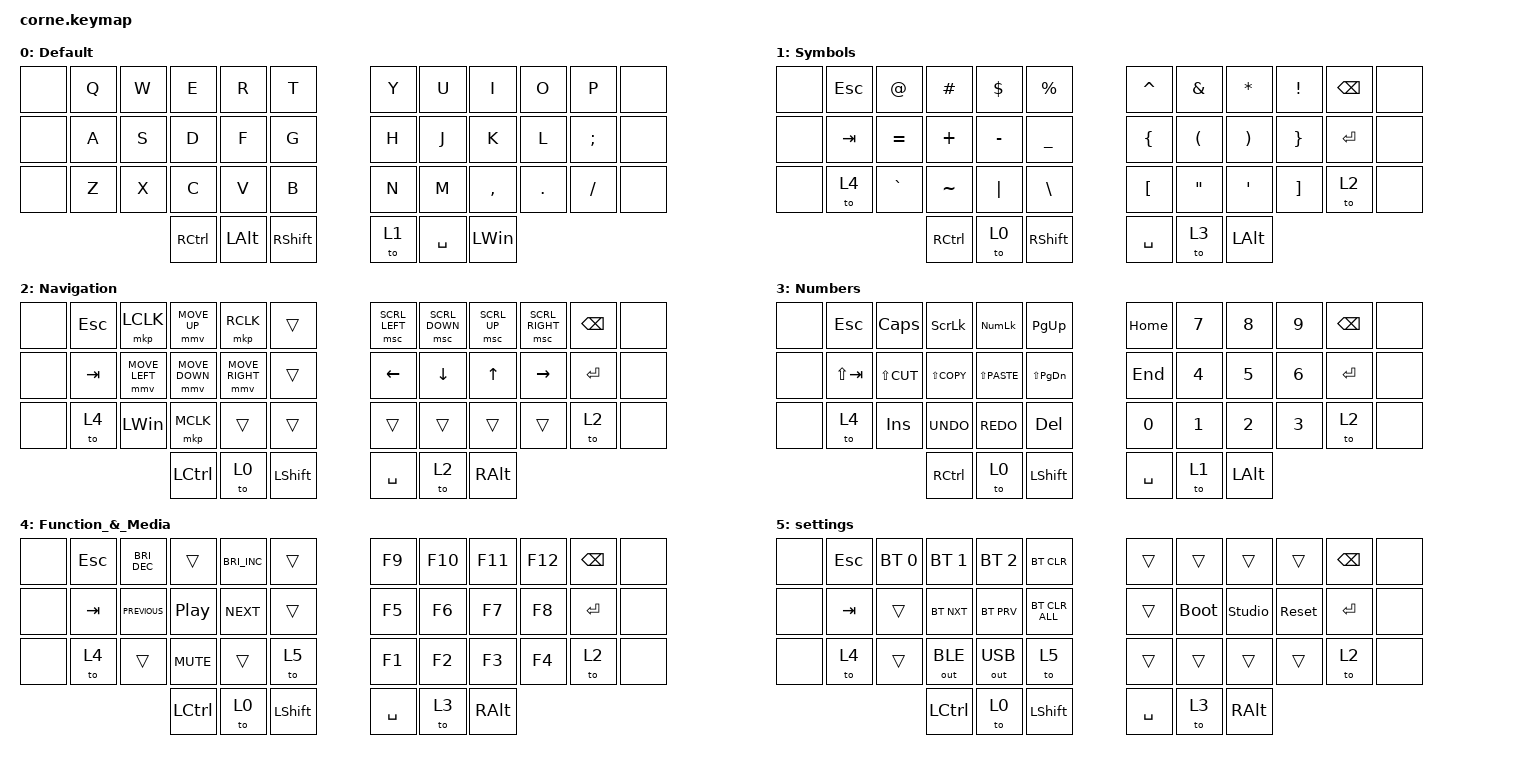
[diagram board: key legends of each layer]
/*
 * Copyright (c) 2020 The ZMK Contributors
 *
 * SPDX-License-Identifier: MIT
 */

#include <behaviors.dtsi>
#include <dt-bindings/zmk/bt.h>
#include <dt-bindings/zmk/keys.h>
#include <dt-bindings/zmk/outputs.h>
#include <dt-bindings/zmk/pointing.h>

#define DEFAULT 0
#define SYM     1
#define NAV     2
#define NUM     3
#define FUNC    4
#define SETTINGS 5

&caps_word { continue-list = <UNDERSCORE MINUS>; };

&soft_off {
    hold-time-ms = <5000>; // Only turn off if the key is held for 5 seconds or longer.
};

&soft_off { /delete-property/ split-peripheral-off-on-press; };

/ {
    combos {
        compatible = "zmk,combos";

        combo_enter {
            bindings = <&kp ENTER>;
            key-positions = <19 20>;
            layers = <0>;
            timeout-ms = <50>;
        };

        combo_tab {
            bindings = <&kp TAB>;
            key-positions = <1 2>;
            require-prior-idle-ms = <50>;
            layers = <0>;
        };

        combo_ctrl_backspace {
            bindings = <&kp RC(BACKSPACE)>;
            key-positions = <27 28>;
            timeout-ms = <50>;
            layers = <0>;
        };

        combo_quote {
            bindings = <&kp SINGLE_QUOTE>;
            key-positions = <32 33>;
            timeout-ms = <50>;
            layers = <0>;
        };

        combo_ctrl_shift {
            bindings = <&kp LC(LEFT_SHIFT)>;
            key-positions = <25 26>;
            timeout-ms = <50>;
            layers = <0>;
        };

        combo_backspace {
            bindings = <&kp BACKSPACE>;
            key-positions = <15 16>;
            timeout-ms = <50>;
            layers = <0>;
        };

        combo_alt_shift {
            bindings = <&kp LA(LEFT_SHIFT)>;
            key-positions = <15 16>;
            timeout-ms = <50>;
            layers = <3>;
        };
    };
};

/ {
    behaviors {
        hm: homerow_mods {
            compatible = "zmk,behavior-hold-tap";
            label = "HOMEROW_MODS";
            #binding-cells = <2>;
            tapping-term-ms = <200>;
            quick-tap-ms = <0>;
            flavor = "balanced";
            bindings = <&kp>, <&kp>;
        };

        hs: homerow_shift {
            compatible = "zmk,behavior-hold-tap";
            label = "HOMEROW_SHIFT";
            #binding-cells = <2>;
            tapping-term-ms = <175>;
            quick-tap-ms = <0>;
            flavor = "balanced";
            bindings = <&kp>, <&kp>;
        };

        pht: positional_hold_tap {
            compatible = "zmk,behavior-hold-tap";
            label = "POSITIONAL_HOLD_TAP";
            #binding-cells = <2>;
            flavor = "hold-preferred";
            tapping-term-ms = <400>;
            quick-tap-ms = <200>;
            bindings = <&kp>, <&kp>;

            hold-trigger-key-positions = <2>;    // <---[[the W key]]
        };
    };

    keymap {
        compatible = "zmk,keymap";

        default_layer {
            label = "Default";
            bindings = <
&none  &kp Q  &kp W  &kp E      &kp R         &kp T              &kp Y  &kp U      &kp I         &kp O    &kp P          &none
&none  &kp A  &kp S  &kp D      &kp F         &kp G              &kp H  &kp J      &kp K         &kp L    &kp SEMICOLON  &none
&none  &kp Z  &kp X  &kp C      &kp V         &kp B              &kp N  &kp M      &kp COMMA     &kp DOT  &kp FSLH       &none
                     &kp RCTRL  &kp LEFT_ALT  &kp RIGHT_SHIFT    &to 1  &kp SPACE  &kp LEFT_WIN
            >;
        };

        symbol_layer {
            label = "Symbols";
            bindings = <
&none  &kp ESC  &kp AT_SIGN  &kp HASH   &kp DOLLAR  &kp PERCENT        &kp CARET         &kp AMPERSAND         &kp ASTERISK           &kp EXCLAMATION    &kp BACKSPACE  &none
&none  &kp TAB  &kp EQUAL    &kp PLUS   &kp MINUS   &kp UNDERSCORE     &kp LEFT_BRACE    &kp LEFT_PARENTHESIS  &kp RIGHT_PARENTHESIS  &kp RIGHT_BRACE    &kp ENTER      &none
&none  &to 4    &kp GRAVE    &kp TILDE  &kp PIPE    &kp BACKSLASH      &kp LEFT_BRACKET  &kp DOUBLE_QUOTES     &kp SINGLE_QUOTE       &kp RIGHT_BRACKET  &to 2          &none
                             &kp RCTRL  &to 0       &kp RIGHT_SHIFT    &kp SPACE         &to 3                 &kp LEFT_ALT
            >;
        };

        nav_layer {
            label = "Navigation";
            bindings = <
&none  &kp ESCAPE  &mkp LCLK       &mmv MOVE_UP    &mkp RCLK        &trans            &msc SCRL_LEFT  &msc SCRL_DOWN  &msc SCRL_UP   &msc SCRL_RIGHT  &kp BACKSPACE  &none
&none  &kp TAB     &mmv MOVE_LEFT  &mmv MOVE_DOWN  &mmv MOVE_RIGHT  &trans            &kp LEFT        &kp DOWN        &kp UP_ARROW   &kp RIGHT        &kp ENTER      &none
&none  &to 4       &kp LEFT_WIN    &mkp MCLK       &trans           &trans            &trans          &trans          &trans         &trans           &to 2          &none
                                   &kp LCTRL       &to 0            &kp LEFT_SHIFT    &kp SPACE       &to 2           &kp RIGHT_ALT
            >;
        };

        num_layer {
            label = "Numbers";
            bindings = <
&none  &kp ESCAPE   &kp CAPS       &kp SCROLLLOCK  &kp KP_NUMLOCK   &kp PG_UP         &kp HOME      &kp NUMBER_7  &kp NUMBER_8  &kp NUMBER_9  &kp BACKSPACE  &none
&none  &kp LS(TAB)  &kp LS(K_CUT)  &kp LS(K_COPY)  &kp LS(K_PASTE)  &kp LS(PG_DN)     &kp END       &kp NUMBER_4  &kp NUMBER_5  &kp NUMBER_6  &kp ENTER      &none
&none  &to 4        &kp INSERT     &kp K_UNDO      &kp K_REDO       &kp DELETE        &kp NUMBER_0  &kp NUMBER_1  &kp NUMBER_2  &kp NUMBER_3  &to 2          &none
                                   &kp RCTRL       &to 0            &kp LEFT_SHIFT    &kp SPACE     &to 1         &kp LEFT_ALT
            >;
        };

        function_layer {
            label = "Function_&_Media";
            bindings = <
&none  &kp ESCAPE  &kp C_BRIGHTNESS_DEC  &trans            &kp C_BRIGHTNESS_INC  &trans            &kp F9     &kp F10  &kp F11        &kp F12  &kp BACKSPACE  &none
&none  &kp TAB     &kp C_PREVIOUS        &kp C_PLAY_PAUSE  &kp C_NEXT            &trans            &kp F5     &kp F6   &kp F7         &kp F8   &kp ENTER      &none
&none  &to 4       &trans                &kp C_MUTE        &trans                &to 5             &kp F1     &kp F2   &kp F3         &kp F4   &to 2          &none
                                         &kp LCTRL         &to 0                 &kp LEFT_SHIFT    &kp SPACE  &to 3    &kp RIGHT_ALT
            >;
        };

        settings_layer {
            label = "settings";
            bindings = <
&none  &kp ESCAPE  &bt BT_SEL 0  &bt BT_SEL 1  &bt BT_SEL 2  &bt BT_CLR        &trans     &trans       &trans          &trans      &kp BACKSPACE  &none
&none  &kp TAB     &trans        &bt BT_NXT    &bt BT_PRV    &bt BT_CLR_ALL    &trans     &bootloader  &studio_unlock  &sys_reset  &kp ENTER      &none
&none  &to 4       &trans        &out OUT_BLE  &out OUT_USB  &to 5             &trans     &trans       &trans          &trans      &to 2          &none
                                 &kp LCTRL     &to 0         &kp LEFT_SHIFT    &kp SPACE  &to 3        &kp RIGHT_ALT
            >;
        };
    };
};
